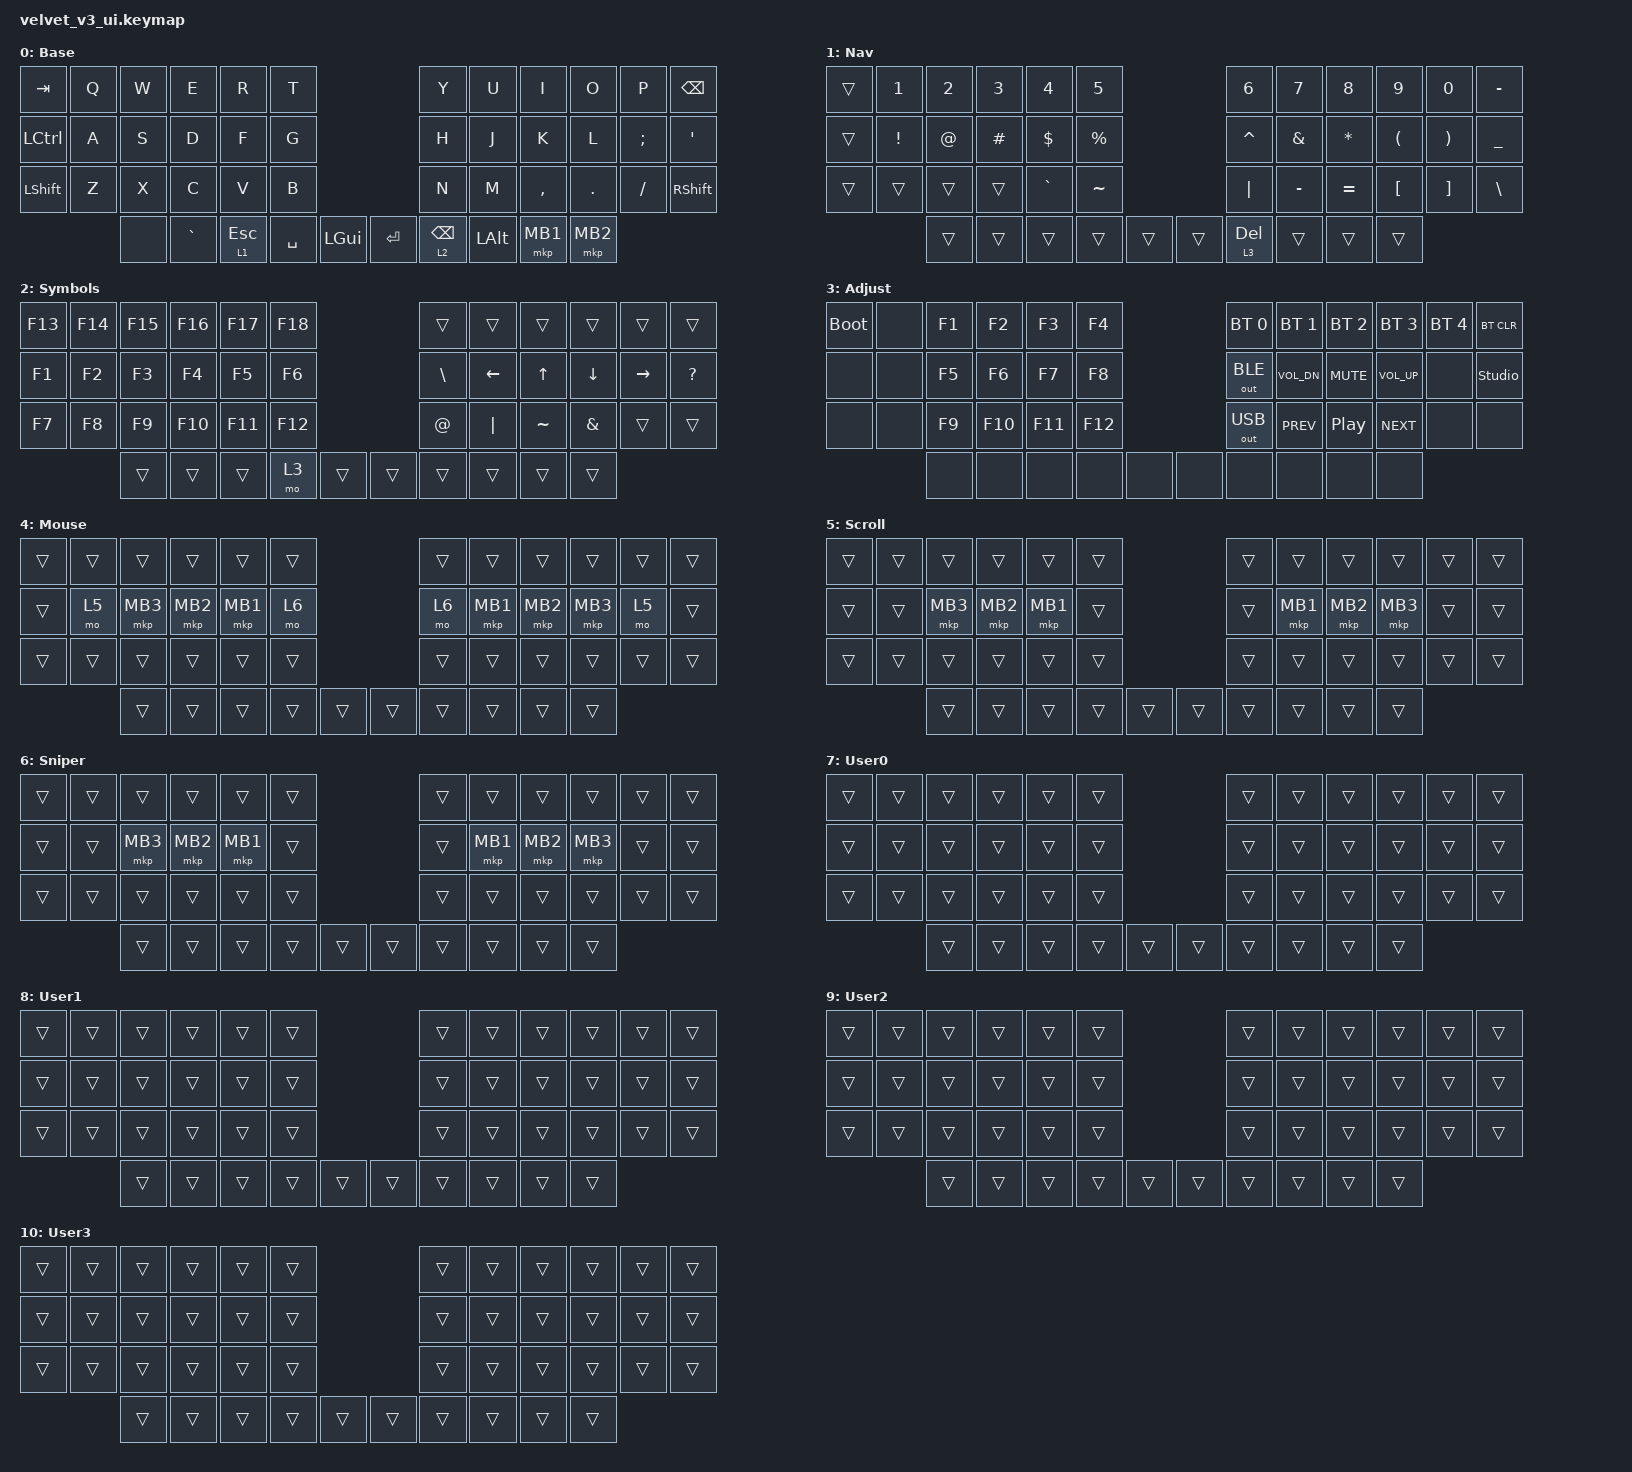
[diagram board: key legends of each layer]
#include "keys_ru.h"
#include <dt-bindings/zmk/input_transform.h>
#include <input/processors.dtsi>
#include <zephyr/dt-bindings/input/input-event-codes.h>
#include <behaviors.dtsi>
#include <dt-bindings/zmk/bt.h>
#include <dt-bindings/zmk/keys.h>
#include <dt-bindings/zmk/outputs.h>
#include <dt-bindings/zmk/pointing.h>

/ {
    behaviors {
        cap_sen: cap_sen {
            compatible = "zmk,behavior-hold-tap";
            label = "CAP_SEN";
            bindings = <&mo>, <&mkp>;

            #binding-cells = <2>;
            tapping-term-ms = <150>;
            hold-while-undecided;
        };

        mouse_layer: mouse_layer {
            compatible = "zmk,behavior-sticky-key";
            label = "MOUSE_LAYER";
            bindings = <&mo>;
            #binding-cells = <1>;
            release-after-ms = <200>;
        };

        zip_auto_mouse: zip_auto_mouse {
            compatible = "zmk,input-processor-temp-layer";
            #input-processor-cells = <2>;
            require-prior-idle-ms = <800>;
            excluded-positions = <>;
        };
    };

    keymap {
        compatible = "zmk,keymap";

                base {
            bindings = <
&kp TAB    &kp Q  &kp W  &kp E      &kp R      &kp T                           &kp Y       &kp U     &kp I      &kp O     &kp P      &kp BSPC
&kp LCTRL  &kp A  &kp S  &kp D      &kp F      &kp G                           &kp H       &kp J     &kp K      &kp L     &kp SEMI   &kp SQT
&kp LSHFT  &kp Z  &kp X  &kp C      &kp V      &kp B                           &kp N       &kp M     &kp COMMA  &kp DOT   &kp SLASH  &kp RSHFT
                  &none  &kp GRAVE  &lt 1 ESC  &kp SPACE  &kp LGUI    &kp RET  &lt 2 BSPC  &kp LALT  &mkp MB1   &mkp MB2
            >;

            display-name = "Base";
        };

        // !@#$%^&*()_

        nav {
            bindings = <
&trans  &kp N1    &kp N2  &kp N3    &kp N4      &kp N5                         &kp N6     &kp N7     &kp N8     &kp N9                &kp N0                 &kp MINUS
&trans  &kp EXCL  &kp AT  &kp HASH  &kp DOLLAR  &kp PERCENT                    &kp CARET  &kp AMPS   &kp STAR   &kp LEFT_PARENTHESIS  &kp RIGHT_PARENTHESIS  &kp UNDER
&trans  &trans    &trans  &trans    &kp GRAVE   &kp TILDE                      &kp PIPE   &kp MINUS  &kp EQUAL  &kp LBKT              &kp RIGHT_BRACKET      &kp BACKSLASH
                  &trans  &trans    &trans      &trans       &trans    &trans  &lt 3 DEL  &trans     &trans     &trans
            >;

            display-name = "Nav";
        };

        sym {
            bindings = <
&kp F13  &kp F14  &kp F15  &kp F16  &kp F17  &kp F18                    &trans         &trans    &trans     &trans    &trans     &trans
&kp F1   &kp F2   &kp F3   &kp F4   &kp F5   &kp F6                     &kp BACKSLASH  &kp LEFT  &kp UP     &kp DOWN  &kp RIGHT  &kp QUESTION
&kp F7   &kp F8   &kp F9   &kp F10  &kp F11  &kp F12                    &kp AT         &kp PIPE  &kp TILDE  &kp AMPS  &trans     &trans
                  &trans   &trans   &trans   &mo 3    &trans    &trans  &trans         &trans    &trans     &trans
            >;

            display-name = "Symbols";
        };

        adj {
            bindings = <
&bootloader  &none  &kp F1  &kp F2   &kp F3   &kp F4                   &bt BT_SEL 0  &bt BT_SEL 1  &bt BT_SEL 2      &bt BT_SEL 3  &bt BT_SEL 4  &bt BT_CLR
&none        &none  &kp F5  &kp F6   &kp F7   &kp F8                   &out OUT_BLE  &kp C_VOL_DN  &kp C_MUTE        &kp C_VOL_UP  &none         &studio_unlock
&none        &none  &kp F9  &kp F10  &kp F11  &kp F12                  &out OUT_USB  &kp C_PREV    &kp C_PLAY_PAUSE  &kp C_NEXT    &none         &none
                    &none   &none    &none    &none    &none    &none  &none         &none         &none             &none
            >;

            display-name = "Adjust";
        };

        mouse {
            bindings = <
&trans  &trans  &trans    &trans    &trans    &trans                    &trans  &trans    &trans    &trans    &trans  &trans
&trans  &mo 5   &mkp MB3  &mkp MB2  &mkp MB1  &mo 6                     &mo 6   &mkp MB1  &mkp MB2  &mkp MB3  &mo 5   &trans
&trans  &trans  &trans    &trans    &trans    &trans                    &trans  &trans    &trans    &trans    &trans  &trans
                &trans    &trans    &trans    &trans  &trans    &trans  &trans  &trans    &trans    &trans
            >;

            display-name = "Mouse";
        };

        scroll {
            bindings = <
&trans  &trans  &trans    &trans    &trans    &trans                    &trans  &trans    &trans    &trans    &trans  &trans
&trans  &trans  &mkp MB3  &mkp MB2  &mkp MB1  &trans                    &trans  &mkp MB1  &mkp MB2  &mkp MB3  &trans  &trans
&trans  &trans  &trans    &trans    &trans    &trans                    &trans  &trans    &trans    &trans    &trans  &trans
                &trans    &trans    &trans    &trans  &trans    &trans  &trans  &trans    &trans    &trans
            >;

            display-name = "Scroll";
        };

        sniper {
            bindings = <
&trans  &trans  &trans    &trans    &trans    &trans                    &trans  &trans    &trans    &trans    &trans  &trans
&trans  &trans  &mkp MB3  &mkp MB2  &mkp MB1  &trans                    &trans  &mkp MB1  &mkp MB2  &mkp MB3  &trans  &trans
&trans  &trans  &trans    &trans    &trans    &trans                    &trans  &trans    &trans    &trans    &trans  &trans
                &trans    &trans    &trans    &trans  &trans    &trans  &trans  &trans    &trans    &trans
            >;

            display-name = "Sniper";
        };

        User0 {
            bindings = <
&trans  &trans  &trans  &trans  &trans  &trans                    &trans  &trans  &trans  &trans  &trans  &trans
&trans  &trans  &trans  &trans  &trans  &trans                    &trans  &trans  &trans  &trans  &trans  &trans
&trans  &trans  &trans  &trans  &trans  &trans                    &trans  &trans  &trans  &trans  &trans  &trans
                &trans  &trans  &trans  &trans  &trans    &trans  &trans  &trans  &trans  &trans
            >;

            display-name = "User0";
        };

        User1 {
            bindings = <
&trans  &trans  &trans  &trans  &trans  &trans                    &trans  &trans  &trans  &trans  &trans  &trans
&trans  &trans  &trans  &trans  &trans  &trans                    &trans  &trans  &trans  &trans  &trans  &trans
&trans  &trans  &trans  &trans  &trans  &trans                    &trans  &trans  &trans  &trans  &trans  &trans
                &trans  &trans  &trans  &trans  &trans    &trans  &trans  &trans  &trans  &trans
            >;

            display-name = "User1";
        };

        User2 {
            bindings = <
&trans  &trans  &trans  &trans  &trans  &trans                    &trans  &trans  &trans  &trans  &trans  &trans
&trans  &trans  &trans  &trans  &trans  &trans                    &trans  &trans  &trans  &trans  &trans  &trans
&trans  &trans  &trans  &trans  &trans  &trans                    &trans  &trans  &trans  &trans  &trans  &trans
                &trans  &trans  &trans  &trans  &trans    &trans  &trans  &trans  &trans  &trans
            >;

            display-name = "User2";
        };

        User3 {
            bindings = <
&trans  &trans  &trans  &trans  &trans  &trans                    &trans  &trans  &trans  &trans  &trans  &trans
&trans  &trans  &trans  &trans  &trans  &trans                    &trans  &trans  &trans  &trans  &trans  &trans
&trans  &trans  &trans  &trans  &trans  &trans                    &trans  &trans  &trans  &trans  &trans  &trans
                &trans  &trans  &trans  &trans  &trans    &trans  &trans  &trans  &trans  &trans
            >;

            display-name = "User3";
        };
    };
};

&trackball { cpi = <1000>; };

&trackball_listener {
    input-processors = <&zip_auto_mouse 4 500>, <&zip_xy_scaler 9 20>;

    scroller {
        layers = <5>;
        input-processors =
            <&zip_xy_transform INPUT_TRANSFORM_Y_INVERT>,
            <&zip_xy_scaler 1 32>,
            <&zip_xy_to_scroll_mapper>;
    };

    sniper {
        layers = <6>;
        input-processors = <&zip_xy_scaler 1 4>;
    };
};
